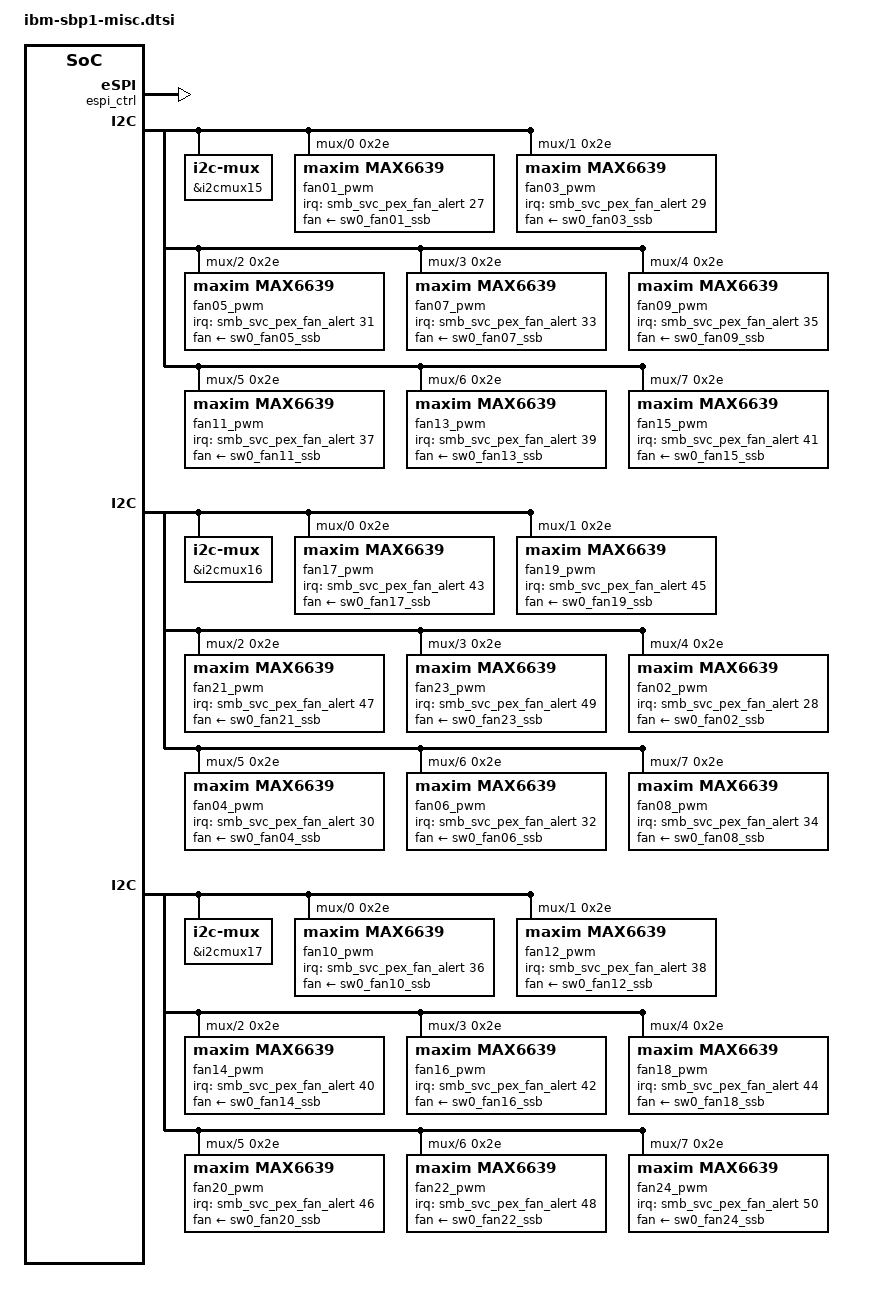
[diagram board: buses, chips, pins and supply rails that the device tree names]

&espi_ctrl {
	status = "okay";
	flash,size = <0x4000000>;
};


&i2cmux15 {
	i2c@0 { // MUX_FAN01_PWM
		#address-cells = <1>;
		#size-cells = <0>;
		reg = <0>;
		fan01_pwm: hwmon@2e {
			compatible = "maxim,max6639";
			#address-cells = <1>;
			#size-cells = <0>;
			reg = <0x2e>;
			interrupt-parent = <&smb_svc_pex_fan_alert>;
			interrupts = <27 IRQ_TYPE_LEVEL_LOW>; // FAN01_PWM_ALERT_N
			fan-supply = <&sw0_fan01_ssb>;
			channel@0 {
				reg = <0>;
				pwm-polarity = <1>;
				pulses-per-revolution = <1>;
				rpm-range = <16000>;
				pwm-init = <90>;
				maxim,disable-therm-full-speed;
			};
			channel@1 {
				reg = <1>;
				pwm-polarity = <1>;
				pulses-per-revolution = <1>;
				rpm-range = <16000>;
				pwm-init = <90>;
				maxim,disable-therm-full-speed;
			};
		};
	};
	i2c@1 { // MUX_FAN03_PWM
		#address-cells = <1>;
		#size-cells = <0>;
		reg = <1>;
		fan03_pwm: hwmon@2e {
			compatible = "maxim,max6639";
			#address-cells = <1>;
			#size-cells = <0>;
			reg = <0x2e>;
			interrupt-parent = <&smb_svc_pex_fan_alert>;
			interrupts = <29 IRQ_TYPE_LEVEL_LOW>; // FAN03_PWM_ALERT_N
			fan-supply = <&sw0_fan03_ssb>;
			channel@0 {
				reg = <0>;
				pwm-polarity = <1>;
				pulses-per-revolution = <1>;
				rpm-range = <16000>;
				pwm-init = <90>;
				maxim,disable-therm-full-speed;
			};
			channel@1 {
				reg = <1>;
				pwm-polarity = <1>;
				pulses-per-revolution = <1>;
				rpm-range = <16000>;
				pwm-init = <90>;
				maxim,disable-therm-full-speed;
			};
		};
	};
	i2c@2 { // MUX_FAN05_PWM
		#address-cells = <1>;
		#size-cells = <0>;
		reg = <2>;
		fan05_pwm: hwmon@2e {
			compatible = "maxim,max6639";
			#address-cells = <1>;
			#size-cells = <0>;
			reg = <0x2e>;
			interrupt-parent = <&smb_svc_pex_fan_alert>;
			interrupts = <31 IRQ_TYPE_LEVEL_LOW>; // FAN05_PWM_ALERT_N
			fan-supply = <&sw0_fan05_ssb>;
			channel@0 {
				reg = <0>;
				pwm-polarity = <1>;
				pulses-per-revolution = <1>;
				rpm-range = <16000>;
				pwm-init = <90>;
				maxim,disable-therm-full-speed;
			};
			channel@1 {
				reg = <1>;
				pwm-polarity = <1>;
				pulses-per-revolution = <1>;
				rpm-range = <16000>;
				pwm-init = <90>;
				maxim,disable-therm-full-speed;
			};
		};
	};
	i2c@3 { // MUX_FAN07_PWM
		#address-cells = <1>;
		#size-cells = <0>;
		reg = <3>;
		fan07_pwm: hwmon@2e {
			compatible = "maxim,max6639";
			#address-cells = <1>;
			#size-cells = <0>;
			reg = <0x2e>;
			interrupt-parent = <&smb_svc_pex_fan_alert>;
			interrupts = <33 IRQ_TYPE_LEVEL_LOW>; // FAN07_PWM_ALERT_N
			fan-supply = <&sw0_fan07_ssb>;
			channel@0 {
				reg = <0>;
				pwm-polarity = <1>;
				pulses-per-revolution = <1>;
				rpm-range = <16000>;
				pwm-init = <90>;
				maxim,disable-therm-full-speed;
			};
			channel@1 {
				reg = <1>;
				pwm-polarity = <1>;
				pulses-per-revolution = <1>;
				rpm-range = <16000>;
				pwm-init = <90>;
				maxim,disable-therm-full-speed;
			};
		};
	};
	i2c@4 { // MUX_FAN09_PWM
		#address-cells = <1>;
		#size-cells = <0>;
		reg = <4>;
		fan09_pwm: hwmon@2e {
			compatible = "maxim,max6639";
			#address-cells = <1>;
			#size-cells = <0>;
			reg = <0x2e>;
			interrupt-parent = <&smb_svc_pex_fan_alert>;
			interrupts = <35 IRQ_TYPE_LEVEL_LOW>; // FAN09_PWM_ALERT_N
			fan-supply = <&sw0_fan09_ssb>;
			channel@0 {
				reg = <0>;
				pwm-polarity = <1>;
				pulses-per-revolution = <1>;
				rpm-range = <16000>;
				pwm-init = <90>;
				maxim,disable-therm-full-speed;
			};
			channel@1 {
				reg = <1>;
				pwm-polarity = <1>;
				pulses-per-revolution = <1>;
				rpm-range = <16000>;
				pwm-init = <90>;
				maxim,disable-therm-full-speed;
			};
		};
	};
	i2c@5 { // MUX_FAN11_PWM
		#address-cells = <1>;
		#size-cells = <0>;
		reg = <5>;
		fan11_pwm: hwmon@2e {
			compatible = "maxim,max6639";
			#address-cells = <1>;
			#size-cells = <0>;
			reg = <0x2e>;
			interrupt-parent = <&smb_svc_pex_fan_alert>;
			interrupts = <37 IRQ_TYPE_LEVEL_LOW>; // FAN11_PWM_ALERT_N
			fan-supply = <&sw0_fan11_ssb>;
			channel@0 {
				reg = <0>;
				pwm-polarity = <1>;
				pulses-per-revolution = <1>;
				rpm-range = <16000>;
				pwm-init = <90>;
				maxim,disable-therm-full-speed;
			};
			channel@1 {
				reg = <1>;
				pwm-polarity = <1>;
				pulses-per-revolution = <1>;
				rpm-range = <16000>;
				pwm-init = <90>;
				maxim,disable-therm-full-speed;
			};
		};
	};
	i2c@6 { // MUX_FAN13_PWM
		#address-cells = <1>;
		#size-cells = <0>;
		reg = <6>;
		fan13_pwm: hwmon@2e {
			compatible = "maxim,max6639";
			#address-cells = <1>;
			#size-cells = <0>;
			reg = <0x2e>;
			interrupt-parent = <&smb_svc_pex_fan_alert>;
			interrupts = <39 IRQ_TYPE_LEVEL_LOW>; // FAN13_PWM_ALERT_N
			fan-supply = <&sw0_fan13_ssb>;
			channel@0 {
				reg = <0>;
				pwm-polarity = <1>;
				pulses-per-revolution = <1>;
				rpm-range = <16000>;
				pwm-init = <90>;
				maxim,disable-therm-full-speed;
			};
			channel@1 {
				reg = <1>;
				pwm-polarity = <1>;
				pulses-per-revolution = <1>;
				rpm-range = <16000>;
				pwm-init = <90>;
				maxim,disable-therm-full-speed;
			};
		};
	};
	i2c@7 { // MUX_FAN15_PWM
		#address-cells = <1>;
		#size-cells = <0>;
		reg = <7>;
		fan15_pwm: hwmon@2e {
			compatible = "maxim,max6639";
			#address-cells = <1>;
			#size-cells = <0>;
			reg = <0x2e>;
			interrupt-parent = <&smb_svc_pex_fan_alert>;
			interrupts = <41 IRQ_TYPE_LEVEL_LOW>; // FAN15_PWM_ALERT_N
			fan-supply = <&sw0_fan15_ssb>;
			channel@0 {
				reg = <0>;
				pwm-polarity = <1>;
				pulses-per-revolution = <1>;
				rpm-range = <16000>;
				pwm-init = <90>;
				maxim,disable-therm-full-speed;
			};
			channel@1 {
				reg = <1>;
				pwm-polarity = <1>;
				pulses-per-revolution = <1>;
				rpm-range = <16000>;
				pwm-init = <90>;
				maxim,disable-therm-full-speed;
			};
		};
	};
};

&i2cmux16 {
	i2c@0 { // MUX_FAN17_PWM
		#address-cells = <1>;
		#size-cells = <0>;
		reg = <0>;
		fan17_pwm: hwmon@2e {
			compatible = "maxim,max6639";
			#address-cells = <1>;
			#size-cells = <0>;
			reg = <0x2e>;
			interrupt-parent = <&smb_svc_pex_fan_alert>;
			interrupts = <43 IRQ_TYPE_LEVEL_LOW>; // FAN17_PWM_ALERT_N
			fan-supply = <&sw0_fan17_ssb>;
			channel@0 {
				reg = <0>;
				pwm-polarity = <1>;
				pulses-per-revolution = <1>;
				rpm-range = <16000>;
				pwm-init = <90>;
				maxim,disable-therm-full-speed;
			};
			channel@1 {
				reg = <1>;
				pwm-polarity = <1>;
				pulses-per-revolution = <1>;
				rpm-range = <16000>;
				pwm-init = <90>;
				maxim,disable-therm-full-speed;
			};
		};
	};
	i2c@1 { // MUX_FAN19_PWM
		#address-cells = <1>;
		#size-cells = <0>;
		reg = <1>;
		fan19_pwm: hwmon@2e {
			compatible = "maxim,max6639";
			#address-cells = <1>;
			#size-cells = <0>;
			reg = <0x2e>;
			interrupt-parent = <&smb_svc_pex_fan_alert>;
			interrupts = <45 IRQ_TYPE_LEVEL_LOW>; // FAN19_PWM_ALERT_N
			fan-supply = <&sw0_fan19_ssb>;
			channel@0 {
				reg = <0>;
				pwm-polarity = <1>;
				pulses-per-revolution = <1>;
				rpm-range = <16000>;
				pwm-init = <90>;
				maxim,disable-therm-full-speed;
			};
			channel@1 {
				reg = <1>;
				pwm-polarity = <1>;
				pulses-per-revolution = <1>;
				rpm-range = <16000>;
				pwm-init = <90>;
				maxim,disable-therm-full-speed;
			};
		};
	};
	i2c@2 { // MUX_FAN21_PWM
		#address-cells = <1>;
		#size-cells = <0>;
		reg = <2>;
		fan21_pwm: hwmon@2e {
			compatible = "maxim,max6639";
			#address-cells = <1>;
			#size-cells = <0>;
			reg = <0x2e>;
			interrupt-parent = <&smb_svc_pex_fan_alert>;
			interrupts = <47 IRQ_TYPE_LEVEL_LOW>; // FAN21_PWM_ALERT_N
			fan-supply = <&sw0_fan21_ssb>;
			channel@0 {
				reg = <0>;
				pwm-polarity = <1>;
				pulses-per-revolution = <1>;
				rpm-range = <16000>;
				pwm-init = <90>;
				maxim,disable-therm-full-speed;
			};
			channel@1 {
				reg = <1>;
				pwm-polarity = <1>;
				pulses-per-revolution = <1>;
				rpm-range = <16000>;
				pwm-init = <90>;
				maxim,disable-therm-full-speed;
			};
		};
	};
	i2c@3 { // MUX_FAN23_PWM
		#address-cells = <1>;
		#size-cells = <0>;
		reg = <3>;
		fan23_pwm: hwmon@2e {
			compatible = "maxim,max6639";
			#address-cells = <1>;
			#size-cells = <0>;
			reg = <0x2e>;
			interrupt-parent = <&smb_svc_pex_fan_alert>;
			interrupts = <49 IRQ_TYPE_LEVEL_LOW>; // FAN23_PWM_ALERT_N
			fan-supply = <&sw0_fan23_ssb>;
			channel@0 {
				reg = <0>;
				pwm-polarity = <1>;
				pulses-per-revolution = <1>;
				rpm-range = <16000>;
				pwm-init = <90>;
				maxim,disable-therm-full-speed;
			};
			channel@1 {
				reg = <1>;
				pwm-polarity = <1>;
				pulses-per-revolution = <1>;
				rpm-range = <16000>;
				pwm-init = <90>;
				maxim,disable-therm-full-speed;
			};
		};
	};
	i2c@4 { // MUX_FAN02_PWM
		#address-cells = <1>;
		#size-cells = <0>;
		reg = <4>;
		fan02_pwm: hwmon@2e {
			compatible = "maxim,max6639";
			#address-cells = <1>;
			#size-cells = <0>;
			reg = <0x2e>;
			interrupt-parent = <&smb_svc_pex_fan_alert>;
			interrupts = <28 IRQ_TYPE_LEVEL_LOW>; // FAN02_PWM_ALERT_N
			fan-supply = <&sw0_fan02_ssb>;
			channel@0 {
				reg = <0>;
				pwm-polarity = <1>;
				pulses-per-revolution = <1>;
				rpm-range = <16000>;
				pwm-init = <90>;
				maxim,disable-therm-full-speed;
			};
			channel@1 {
				reg = <1>;
				pwm-polarity = <1>;
				pulses-per-revolution = <1>;
				rpm-range = <16000>;
				pwm-init = <90>;
				maxim,disable-therm-full-speed;
			};
		};
	};
	i2c@5 { // MUX_FAN04_PWM
		#address-cells = <1>;
		#size-cells = <0>;
		reg = <5>;
		fan04_pwm: hwmon@2e {
			compatible = "maxim,max6639";
			#address-cells = <1>;
			#size-cells = <0>;
			reg = <0x2e>;
			interrupt-parent = <&smb_svc_pex_fan_alert>;
			interrupts = <30 IRQ_TYPE_LEVEL_LOW>; // FAN04_PWM_ALERT_N
			fan-supply = <&sw0_fan04_ssb>;
			channel@0 {
				reg = <0>;
				pwm-polarity = <1>;
				pulses-per-revolution = <1>;
				rpm-range = <16000>;
				pwm-init = <90>;
				maxim,disable-therm-full-speed;
			};
			channel@1 {
				reg = <1>;
				pwm-polarity = <1>;
				pulses-per-revolution = <1>;
				rpm-range = <16000>;
				pwm-init = <90>;
				maxim,disable-therm-full-speed;
			};
		};
	};
	i2c@6 { // MUX_FAN06_PWM
		#address-cells = <1>;
		#size-cells = <0>;
		reg = <6>;
		fan06_pwm: hwmon@2e {
			compatible = "maxim,max6639";
			#address-cells = <1>;
			#size-cells = <0>;
			reg = <0x2e>;
			interrupt-parent = <&smb_svc_pex_fan_alert>;
			interrupts = <32 IRQ_TYPE_LEVEL_LOW>; // FAN06_PWM_ALERT_N
			fan-supply = <&sw0_fan06_ssb>;
			channel@0 {
				reg = <0>;
				pwm-polarity = <1>;
				pulses-per-revolution = <1>;
				rpm-range = <16000>;
				pwm-init = <90>;
				maxim,disable-therm-full-speed;
			};
			channel@1 {
				reg = <1>;
				pwm-polarity = <1>;
				pulses-per-revolution = <1>;
				rpm-range = <16000>;
				pwm-init = <90>;
				maxim,disable-therm-full-speed;
			};
		};
	};
	i2c@7 { // MUX_FAN08_PWM
		#address-cells = <1>;
		#size-cells = <0>;
		reg = <7>;
		fan08_pwm: hwmon@2e {
			compatible = "maxim,max6639";
			#address-cells = <1>;
			#size-cells = <0>;
			reg = <0x2e>;
			interrupt-parent = <&smb_svc_pex_fan_alert>;
			interrupts = <34 IRQ_TYPE_LEVEL_LOW>; // FAN08_PWM_ALERT_N
			fan-supply = <&sw0_fan08_ssb>;
			channel@0 {
				reg = <0>;
				pwm-polarity = <1>;
				pulses-per-revolution = <1>;
				rpm-range = <16000>;
				pwm-init = <90>;
				maxim,disable-therm-full-speed;
			};
			channel@1 {
				reg = <1>;
				pwm-polarity = <1>;
				pulses-per-revolution = <1>;
				rpm-range = <16000>;
				pwm-init = <90>;
				maxim,disable-therm-full-speed;
			};
		};
	};
};

&i2cmux17 {
	i2c@0 { // MUX_FAN10_PWM
		#address-cells = <1>;
		#size-cells = <0>;
		reg = <0>;
		fan10_pwm: hwmon@2e {
			compatible = "maxim,max6639";
			#address-cells = <1>;
			#size-cells = <0>;
			reg = <0x2e>;
			interrupt-parent = <&smb_svc_pex_fan_alert>;
			interrupts = <36 IRQ_TYPE_LEVEL_LOW>; // FAN10_PWM_ALERT_N
			fan-supply = <&sw0_fan10_ssb>;
			channel@0 {
				reg = <0x00>;
				pwm-polarity = <1>;
				pulses-per-revolution = <1>;
				rpm-range = <16000>;
				pwm-init = <90>;
				maxim,disable-therm-full-speed;
			};
			channel@1 {
				reg = <1>;
				pwm-polarity = <1>;
				pulses-per-revolution = <1>;
				rpm-range = <16000>;
				pwm-init = <90>;
				maxim,disable-therm-full-speed;
			};
		};
	};
	i2c@1 { // MUX_FAN12_PWM
		#address-cells = <1>;
		#size-cells = <0>;
		reg = <1>;
		fan12_pwm: hwmon@2e {
			compatible = "maxim,max6639";
			#address-cells = <1>;
			#size-cells = <0>;
			reg = <0x2e>;
			interrupt-parent = <&smb_svc_pex_fan_alert>;
			interrupts = <38 IRQ_TYPE_LEVEL_LOW>; // FAN12_PWM_ALERT_N
			fan-supply = <&sw0_fan12_ssb>;
			channel@0 {
				reg = <0>;
				pwm-polarity = <1>;
				pulses-per-revolution = <1>;
				rpm-range = <16000>;
				pwm-init = <90>;
				maxim,disable-therm-full-speed;
			};
			channel@1 {
				reg = <1>;
				pwm-polarity = <1>;
				pulses-per-revolution = <1>;
				rpm-range = <16000>;
				pwm-init = <90>;
				maxim,disable-therm-full-speed;
			};
		};
	};
	i2c@2 { // MUX_FAN14_PWM
		#address-cells = <1>;
		#size-cells = <0>;
		reg = <2>;
		fan14_pwm: hwmon@2e {
			compatible = "maxim,max6639";
			#address-cells = <1>;
			#size-cells = <0>;
			reg = <0x2e>;
			interrupt-parent = <&smb_svc_pex_fan_alert>;
			interrupts = <40 IRQ_TYPE_LEVEL_LOW>; // FAN14_PWM_ALERT_N
			fan-supply = <&sw0_fan14_ssb>;
			channel@0 {
				reg = <0>;
				pwm-polarity = <1>;
				pulses-per-revolution = <1>;
				rpm-range = <16000>;
				pwm-init = <90>;
				maxim,disable-therm-full-speed;
			};
			channel@1 {
				reg = <1>;
				pwm-polarity = <1>;
				pulses-per-revolution = <1>;
				rpm-range = <16000>;
				pwm-init = <90>;
				maxim,disable-therm-full-speed;
			};
		};
	};
	i2c@3 { // MUX_FAN16_PWM
		#address-cells = <1>;
		#size-cells = <0>;
		reg = <3>;
		fan16_pwm: hwmon@2e {
			compatible = "maxim,max6639";
			#address-cells = <1>;
			#size-cells = <0>;
			reg = <0x2e>;
			interrupt-parent = <&smb_svc_pex_fan_alert>;
			interrupts = <42 IRQ_TYPE_LEVEL_LOW>; // FAN16_PWM_ALERT_N
			fan-supply = <&sw0_fan16_ssb>;
			channel@0 {
				reg = <0>;
				pwm-polarity = <1>;
				pulses-per-revolution = <1>;
				rpm-range = <16000>;
				pwm-init = <90>;
				maxim,disable-therm-full-speed;
			};
			channel@1 {
				reg = <1>;
				pwm-polarity = <1>;
				pulses-per-revolution = <1>;
				rpm-range = <16000>;
				pwm-init = <90>;
				maxim,disable-therm-full-speed;
			};
		};
	};
	i2c@4 { // MUX_FAN18_PWM
		#address-cells = <1>;
		#size-cells = <0>;
		reg = <4>;
		fan18_pwm: hwmon@2e {
			compatible = "maxim,max6639";
			#address-cells = <1>;
			#size-cells = <0>;
			reg = <0x2e>;
			interrupt-parent = <&smb_svc_pex_fan_alert>;
			interrupts = <44 IRQ_TYPE_LEVEL_LOW>; // FAN18_PWM_ALERT_N
			fan-supply = <&sw0_fan18_ssb>;
			channel@0 {
				reg = <0>;
				pwm-polarity = <1>;
				pulses-per-revolution = <1>;
				rpm-range = <16000>;
				pwm-init = <90>;
				maxim,disable-therm-full-speed;
			};
			channel@1 {
				reg = <1>;
				pwm-polarity = <1>;
				pulses-per-revolution = <1>;
				rpm-range = <16000>;
				pwm-init = <90>;
				maxim,disable-therm-full-speed;
			};
		};
	};
	i2c@5 { // MUX_FAN20_PWM
		#address-cells = <1>;
		#size-cells = <0>;
		reg = <5>;
		fan20_pwm: hwmon@2e {
			compatible = "maxim,max6639";
			#address-cells = <1>;
			#size-cells = <0>;
			reg = <0x2e>;
			interrupt-parent = <&smb_svc_pex_fan_alert>;
			interrupts = <46 IRQ_TYPE_LEVEL_LOW>; // FAN20_PWM_ALERT_N
			fan-supply = <&sw0_fan20_ssb>;
			channel@0 {
				reg = <0>;
				pwm-polarity = <1>;
				pulses-per-revolution = <1>;
				rpm-range = <16000>;
				pwm-init = <90>;
				maxim,disable-therm-full-speed;
			};
			channel@1 {
				reg = <1>;
				pwm-polarity = <1>;
				pulses-per-revolution = <1>;
				rpm-range = <16000>;
				pwm-init = <90>;
				maxim,disable-therm-full-speed;
			};
		};
	};
	i2c@6 { // MUX_FAN22_PWM
		#address-cells = <1>;
		#size-cells = <0>;
		reg = <6>;
		fan22_pwm: hwmon@2e {
			compatible = "maxim,max6639";
			#address-cells = <1>;
			#size-cells = <0>;
			reg = <0x2e>;
			interrupt-parent = <&smb_svc_pex_fan_alert>;
			interrupts = <48 IRQ_TYPE_LEVEL_LOW>; // FAN22_PWM_ALERT_N
			fan-supply = <&sw0_fan22_ssb>;
			channel@0 {
				reg = <0>;
				pwm-polarity = <1>;
				pulses-per-revolution = <1>;
				rpm-range = <16000>;
				pwm-init = <90>;
				maxim,disable-therm-full-speed;
			};
			channel@1 {
				reg = <1>;
				pwm-polarity = <1>;
				pulses-per-revolution = <1>;
				rpm-range = <16000>;
				pwm-init = <90>;
				maxim,disable-therm-full-speed;
			};
		};
	};
	i2c@7 { // MUX_FAN24_PWM
		#address-cells = <1>;
		#size-cells = <0>;
		reg = <7>;
		fan24_pwm: hwmon@2e {
			compatible = "maxim,max6639";
			#address-cells = <1>;
			#size-cells = <0>;
			reg = <0x2e>;
			interrupt-parent = <&smb_svc_pex_fan_alert>;
			interrupts = <50 IRQ_TYPE_LEVEL_LOW>; // FAN24_PWM_ALERT_N
			fan-supply = <&sw0_fan24_ssb>;
			channel@0 {
				reg = <0>;
				pwm-polarity = <1>;
				pulses-per-revolution = <1>;
				rpm-range = <16000>;
				pwm-init = <90>;
				maxim,disable-therm-full-speed;
			};
			channel@1 {
				reg = <1>;
				pwm-polarity = <1>;
				pulses-per-revolution = <1>;
				rpm-range = <16000>;
				pwm-init = <90>;
				maxim,disable-therm-full-speed;
			};
		};
	};
};

&bmc_mux_nic {
	maxim,isolate-stuck-channel;
	maxim,send-flush-out-sequence;
};

&i2cmux1 {
	maxim,isolate-stuck-channel;
	maxim,send-flush-out-sequence;
};

&i2cmux2 {
	maxim,isolate-stuck-channel;
	maxim,send-flush-out-sequence;
};

&i2cmux3 {
	maxim,isolate-stuck-channel;
	maxim,send-flush-out-sequence;
};

&i2cmux4 {
	maxim,isolate-stuck-channel;
	maxim,send-flush-out-sequence;
};

&i2cmux5 {
	maxim,isolate-stuck-channel;
	maxim,send-flush-out-sequence;
};

&i2cmux6 {
	maxim,isolate-stuck-channel;
	maxim,send-flush-out-sequence;
};

&i2cmux7 {
	maxim,isolate-stuck-channel;
	maxim,send-flush-out-sequence;
};

&i2cmux8 {
	maxim,isolate-stuck-channel;
	maxim,send-flush-out-sequence;
};

&i2cmux9 {
	maxim,isolate-stuck-channel;
	maxim,send-flush-out-sequence;
};

&i2cmux10 {
	maxim,isolate-stuck-channel;
	maxim,send-flush-out-sequence;
};

&i2cmux11 {
	maxim,isolate-stuck-channel;
	maxim,send-flush-out-sequence;
};

&i2cmux12 {
	maxim,isolate-stuck-channel;
	maxim,send-flush-out-sequence;
};

&i2cmux13 {
	maxim,isolate-stuck-channel;
	maxim,send-flush-out-sequence;
};

&i2cmux14 {
	maxim,isolate-stuck-channel;
	maxim,send-flush-out-sequence;
};

&i2cmux15 {
	maxim,isolate-stuck-channel;
	maxim,send-flush-out-sequence;
};

&i2cmux16 {
	maxim,isolate-stuck-channel;
	maxim,send-flush-out-sequence;
};

&i2cmux17 {
	maxim,isolate-stuck-channel;
	maxim,send-flush-out-sequence;
};

&i2cmux18 {
	maxim,isolate-stuck-channel;
	maxim,send-flush-out-sequence;
};

&i2cmux19 {
	maxim,isolate-stuck-channel;
	maxim,send-flush-out-sequence;
};

&i2cmux20 {
	maxim,isolate-stuck-channel;
	maxim,send-flush-out-sequence;
};

&i2cmux21 {
	maxim,isolate-stuck-channel;
	maxim,send-flush-out-sequence;
};

&i2cmux22 {
	maxim,isolate-stuck-channel;
	maxim,send-flush-out-sequence;
};

&i2cmux23 {
	maxim,isolate-stuck-channel;
	maxim,send-flush-out-sequence;
};

&i2cmux24 {
	maxim,isolate-stuck-channel;
	maxim,send-flush-out-sequence;
};

&i2cmux25 {
	maxim,isolate-stuck-channel;
	maxim,send-flush-out-sequence;
};

